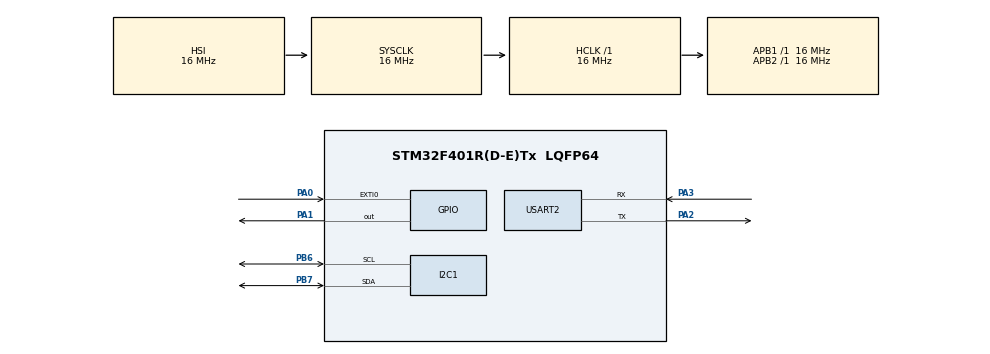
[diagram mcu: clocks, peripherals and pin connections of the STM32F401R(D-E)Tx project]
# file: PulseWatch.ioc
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Mcu.Family=STM32F4
Mcu.Name=STM32F401R(D-E)Tx
Mcu.Package=LQFP64
NVIC.PriorityGroup=NVIC_PRIORITYGROUP_4
PA0-WKUP.GPIO_ModeDefaultEXTI=GPIO_MODE_IT_FALLING
PA0-WKUP.Signal=GPXTI0
PA1.Signal=GPIO_Output
PA2.Mode=Asynchronous
PA2.Signal=USART2_TX
PA3.Mode=Asynchronous
PA3.Signal=USART2_RX
PB6.Mode=I2C
PB6.Signal=I2C1_SCL
PB7.Mode=I2C
PB7.Signal=I2C1_SDA
ProjectManager.HeapSize=0x200
ProjectManager.StackSize=0x400
ProjectManager.TargetToolchain=STM32CubeIDE
RCC.AHBFreq_Value=16000000
RCC.APB1Freq_Value=16000000
RCC.APB2Freq_Value=16000000
RCC.CortexFreq_Value=16000000
RCC.HSE_VALUE=25000000
RCC.HSI_VALUE=16000000
RCC.LSE_VALUE=32768
RCC.SYSCLKFreq_VALUE=16000000
RCC.VCOOutputFreq_Value=192000000
USART2.VirtualMode=VM_ASYNC
board=custom

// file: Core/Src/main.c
/* USER CODE BEGIN Header */
/**
  ******************************************************************************
  * @file           : main.c
  * @brief          : Main program body
  ******************************************************************************
  * @attention
  *
  * Copyright (c) 2024 STMicroelectronics.
  * All rights reserved.
  *
  * This software is licensed under terms that can be found in the LICENSE file
  * in the root directory of this software component.
  * If no LICENSE file comes with this software, it is provided AS-IS.
  *
  ******************************************************************************
  */
/* USER CODE END Header */
#include "main.h"
#include "max30102_for_stm32_hal.h"

#include <string.h>

I2C_HandleTypeDef hi2c1;

UART_HandleTypeDef huart2;

// printf() function
int __io_putchar(int ch)
{
  uint8_t temp = ch;
  HAL_UART_Transmit(&huart2, &temp, 1, HAL_MAX_DELAY);
  return ch;
}

// Override plot function
void max30102_plot(uint32_t ir_sample, uint32_t red_sample)
{
    // printf("ir:%u\n", ir_sample);                  // Print IR only
    // printf("r:%u\n", red_sample);                  // Print Red only
    printf("ir:%u,r:%u\n", ir_sample, red_sample);    // Print IR and Red
}

// MAX30102 object
max30102_t max30102;

void SystemClock_Config(void);
static void MX_GPIO_Init(void);
static void MX_I2C1_Init(void);
static void MX_USART2_UART_Init(void);

int main(void)
{

	  /* MCU Configuration--------------------------------------------------------*/

	  /* Reset of all peripherals, Initializes the Flash interface and the Systick. */
	  HAL_Init();

	  /* Configure the system clock */
	  SystemClock_Config();

	  /* Initialize all configured peripherals */
	  MX_GPIO_Init();
	  MX_I2C1_Init();
	  MX_USART2_UART_Init();
	  /* USER CODE BEGIN 2 */
	  // Initiation
	  max30102_init(&max30102, &hi2c1);
	  max30102_reset(&max30102);
	  max30102_clear_fifo(&max30102);
	  max30102_set_fifo_config(&max30102, max30102_smp_ave_8, 1, 7);

	  // Sensor settings
	  max30102_set_led_pulse_width(&max30102, max30102_pw_16_bit);
	  max30102_set_adc_resolution(&max30102, max30102_adc_2048);
	  max30102_set_sampling_rate(&max30102, max30102_sr_800);
	  max30102_set_led_current_1(&max30102, 6.2);
	  max30102_set_led_current_2(&max30102, 6.2);

	  // Enter SpO2 mode
	  max30102_set_mode(&max30102, max30102_spo2);
	  max30102_set_a_full(&max30102, 1);

	  // Initiate 1 temperature measurement
	  max30102_set_die_temp_en(&max30102, 1);
	  max30102_set_die_temp_rdy(&max30102, 1);

	  uint8_t en_reg[2] = {0};
	  max30102_read(&max30102, 0x00, en_reg, 1);
	  /* USER CODE END 2 */

	  /* Infinite loop */
	  /* USER CODE BEGIN WHILE */
	  while (1)
	  {

	    if (max30102_has_interrupt(&max30102))
	    {
	      max30102_interrupt_handler(&max30102);
	    }
	    /* USER CODE END WHILE */

	  }
}

void SystemClock_Config(void)
{
  RCC_OscInitTypeDef RCC_OscInitStruct = {0};
  RCC_ClkInitTypeDef RCC_ClkInitStruct = {0};

  /** Configure the main internal regulator output voltage
  */
  __HAL_RCC_PWR_CLK_ENABLE();
  __HAL_PWR_VOLTAGESCALING_CONFIG(PWR_REGULATOR_VOLTAGE_SCALE2);

  /** Initializes the RCC Oscillators according to the specified parameters
  * in the RCC_OscInitTypeDef structure.
  */
  RCC_OscInitStruct.OscillatorType = RCC_OSCILLATORTYPE_HSI;
  RCC_OscInitStruct.HSIState = RCC_HSI_ON;
  RCC_OscInitStruct.HSICalibrationValue = RCC_HSICALIBRATION_DEFAULT;
  RCC_OscInitStruct.PLL.PLLState = RCC_PLL_NONE;
  if (HAL_RCC_OscConfig(&RCC_OscInitStruct) != HAL_OK)
  {
    Error_Handler();
  }

  /** Initializes the CPU, AHB and APB buses clocks
  */
  RCC_ClkInitStruct.ClockType = RCC_CLOCKTYPE_HCLK|RCC_CLOCKTYPE_SYSCLK
                              |RCC_CLOCKTYPE_PCLK1|RCC_CLOCKTYPE_PCLK2;
  RCC_ClkInitStruct.SYSCLKSource = RCC_SYSCLKSOURCE_HSI;
  RCC_ClkInitStruct.AHBCLKDivider = RCC_SYSCLK_DIV1;
  RCC_ClkInitStruct.APB1CLKDivider = RCC_HCLK_DIV1;
  RCC_ClkInitStruct.APB2CLKDivider = RCC_HCLK_DIV1;

  if (HAL_RCC_ClockConfig(&RCC_ClkInitStruct, FLASH_LATENCY_0) != HAL_OK)
  {
    Error_Handler();
  }
}

static void MX_I2C1_Init(void)
{

  hi2c1.Instance = I2C1;
  hi2c1.Init.ClockSpeed = 100000;
  hi2c1.Init.DutyCycle = I2C_DUTYCYCLE_2;
  hi2c1.Init.OwnAddress1 = 0;
  hi2c1.Init.AddressingMode = I2C_ADDRESSINGMODE_7BIT;
  hi2c1.Init.DualAddressMode = I2C_DUALADDRESS_DISABLE;
  hi2c1.Init.OwnAddress2 = 0;
  hi2c1.Init.GeneralCallMode = I2C_GENERALCALL_DISABLE;
  hi2c1.Init.NoStretchMode = I2C_NOSTRETCH_DISABLE;
  if (HAL_I2C_Init(&hi2c1) != HAL_OK)
  {
    Error_Handler();
  }

}

static void MX_USART2_UART_Init(void)
{

  huart2.Instance = USART2;
  huart2.Init.BaudRate = 115200;
  huart2.Init.WordLength = UART_WORDLENGTH_8B;
  huart2.Init.StopBits = UART_STOPBITS_1;
  huart2.Init.Parity = UART_PARITY_NONE;
  huart2.Init.Mode = UART_MODE_TX_RX;
  huart2.Init.HwFlowCtl = UART_HWCONTROL_NONE;
  huart2.Init.OverSampling = UART_OVERSAMPLING_16;
  if (HAL_UART_Init(&huart2) != HAL_OK)
  {
    Error_Handler();
  }

}

static void MX_GPIO_Init(void)
{
  GPIO_InitTypeDef GPIO_InitStruct = {0};

  /* GPIO Ports Clock Enable */
  __HAL_RCC_GPIOA_CLK_ENABLE();
  __HAL_RCC_GPIOB_CLK_ENABLE();

  /*Configure GPIO pin Output Level */
  HAL_GPIO_WritePin(GPIOA, GPIO_PIN_1, GPIO_PIN_RESET);

  /*Configure GPIO pin : PA0 */
  GPIO_InitStruct.Pin = GPIO_PIN_0;
  GPIO_InitStruct.Mode = GPIO_MODE_IT_FALLING;
  GPIO_InitStruct.Pull = GPIO_NOPULL;
  HAL_GPIO_Init(GPIOA, &GPIO_InitStruct);

  /*Configure GPIO pin : PA1 */
  GPIO_InitStruct.Pin = GPIO_PIN_1;
  GPIO_InitStruct.Mode = GPIO_MODE_OUTPUT_PP;
  GPIO_InitStruct.Pull = GPIO_NOPULL;
  GPIO_InitStruct.Speed = GPIO_SPEED_FREQ_LOW;
  HAL_GPIO_Init(GPIOA, &GPIO_InitStruct);

}

void Error_Handler(void)
{
  __disable_irq();
  while (1)
  {
  }
}
